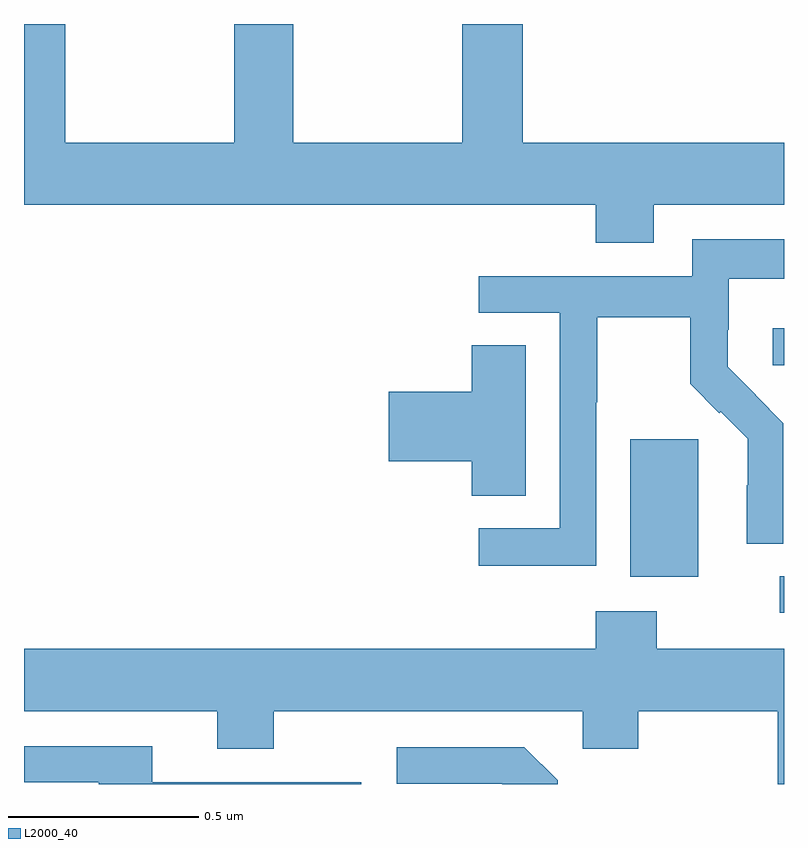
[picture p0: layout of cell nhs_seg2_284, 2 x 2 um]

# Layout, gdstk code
import gdstk
lib = gdstk.Library(unit=1e-6, precision=1e-09)
def R(c, l, rs):  # rectangles x0, y0, x1, y1
    for r in rs: c.add(gdstk.rectangle(r[:2], r[2:], *l))
def P(c, l, *ps):  # polygons
    for p in ps: c.add(gdstk.Polygon(p, *l))
L2000_40 = (2000, 40)

nhs_seg2_284 = lib.new_cell('nhs_seg2_284')
R(nhs_seg2_284, L2000_40, [(115.989,625.251,116,625.347), (115.595,625.346,115.774,625.707), (115.971,625.902,116,625.999)])
P(nhs_seg2_284, L2000_40, [(115.657,626.324),(116,626.324),(116,626.488),(115.313,626.488),(115.313,626.8),(115.153,626.8),(115.153,626.488),(114.708,626.488),(114.708,626.8),(114.553,626.8),(114.553,626.488),(114.108,626.488),(114.108,626.8),(114,626.8),(114,626.324),(115.505,626.324),(115.505,626.225),(115.657,626.225)],
  [(115.506,625.804),(115.509,625.804),(115.509,626.028),(115.753,626.028),(115.753,625.853),(115.83,625.776),(115.833,625.779),(115.904,625.709),(115.904,625.586),(115.902,625.586),(115.902,625.432),(115.998,625.432),(115.998,625.75),(115.925,625.823),(115.926,625.824),(115.852,625.898),(115.852,625.995),(115.854,625.995),(115.854,626.129),(116,626.129),(116,626.233),(115.758,626.233),(115.758,626.136),(115.197,626.136),(115.197,626.04),(115.41,626.04),(115.41,625.473),(115.197,625.473),(115.197,625.375),(115.506,625.375)],
  [(115.321,625.955),(115.178,625.955),(115.178,625.832),(114.96,625.832),(114.96,625.649),(115.178,625.649),(115.178,625.558),(115.321,625.558)],
  [(116,625.156),(115.665,625.156),(115.665,625.255),(115.505,625.255),(115.505,625.156),(114,625.156),(114,624.992),(114.509,624.992),(114.509,624.893),(114.657,624.893),(114.657,624.992),(115.47,624.992),(115.47,624.893),(115.617,624.893),(115.617,624.992),(115.984,624.992),(115.984,624.8),(116,624.8)],
  [(114.888,624.804),(114.337,624.804),(114.337,624.9),(114,624.9),(114,624.804),(114.197,624.804),(114.197,624.8),(114.888,624.8)],
  [(115.404,624.81),(115.317,624.897),(114.981,624.897),(114.981,624.801),(115.257,624.801),(115.258,624.8),(115.404,624.8)])

lib.write_gds('nhs_seg2_284.gds')
